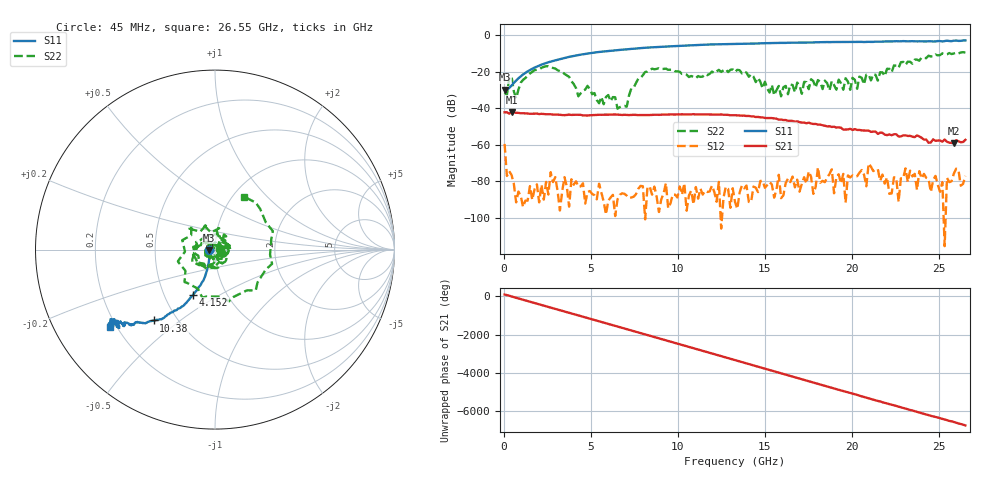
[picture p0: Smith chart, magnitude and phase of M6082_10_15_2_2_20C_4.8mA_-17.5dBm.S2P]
!  2-Port S-parameters saved by WinCal
! VAR MeasName=S-Parameters (CALIBRATED_DATA) read from VNA (C)
! VAR MeasDate=10/16/2015 3:10:14 PM
! VAR NAME=M6082_10_15_2_2_20C_4.8mA_-17.5dBm
! VAR FILENAME=M6082_10_15_2_2_20C_4.8mA_-17.5dBm.S2P
! VAR DATE=10/16/2015 3:10:14 PM
! VAR PHYS_PORTS=2,1
! VAR ObjTypeName=DATASET
! VAR IndexType=Frequency
# Hz S DB R 50
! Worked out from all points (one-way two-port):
!   201 points, 45 MHz to 26.55 GHz, reference 50 ohm
!   highest |S21| = -41.88 dB at 442.5 MHz (marker M1); lowest = -59.0 dB at 25.88 GHz (marker M2)
!   lowest |S11| = -29.8 dB at 45 MHz (marker M3), VSWR 1.07, Z = 46.9 - j0.184 ohm
!   |S11| at or under -10 dB: start of sweep to 4.774 GHz
!   |S22| runs from -40.2 to -9.2 dB; largest |S21 - S12| = 0.0088
!   S11 on the Smith chart (normalised r, x): 45 MHz: 0.94, -0.00; 4.152 GHz: 0.70, -0.38; 10.38 GHz: 0.37, -0.40; 26.55 GHz: 0.18, -0.32
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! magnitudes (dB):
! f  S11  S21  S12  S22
! 45 MHz  -29.8  -42.1  -59.4  -31.2
! 177.5 MHz  -29.8  -42.1  -77.0  -32.7
! 442.5 MHz  -27.5  -41.9  -76.4  -22.4
! 707.5 MHz  -24.7  -42.4  -91.4  -34.5
! 2.43 GHz  -15.2  -43.2  -80.2  -17.0
! 4.152 GHz  -11.0  -43.5  -79.9  -28.9
! 4.55 GHz  -10.4  -43.8  -81.0  -30.3
! 7.067 GHz  -7.7  -43.5  -87.7  -39.1
! 7.73 GHz  -7.1  -43.7  -84.0  -23.7
! 8.922 GHz  -6.3  -43.5  -96.7  -18.0
! 10.38 GHz  -5.6  -43.3  -81.0  -21.1
! 13.29 GHz  -4.7  -43.7  -91.2  -20.0
! 15.95 GHz  -4.1  -46.1  -89.1  -33.4
! 17.8 GHz  -3.9  -48.5  -86.8  -25.1
! 18.07 GHz  -3.8  -48.8  -72.3  -24.5
! 18.2 GHz  -3.8  -48.8  -80.7  -25.5
! 20.32 GHz  -3.6  -51.8  -77.1  -29.3
! 20.85 GHz  -3.6  -52.1  -82.6  -21.6
! 20.98 GHz  -3.5  -52.2  -70.1  -21.4
! 22.17 GHz  -3.3  -54.2  -86.8  -18.4
! 25.88 GHz  -2.9  -59.0  -75.7  -9.9
! 26.55 GHz  -2.8  -57.2  -76.9  -9.5
